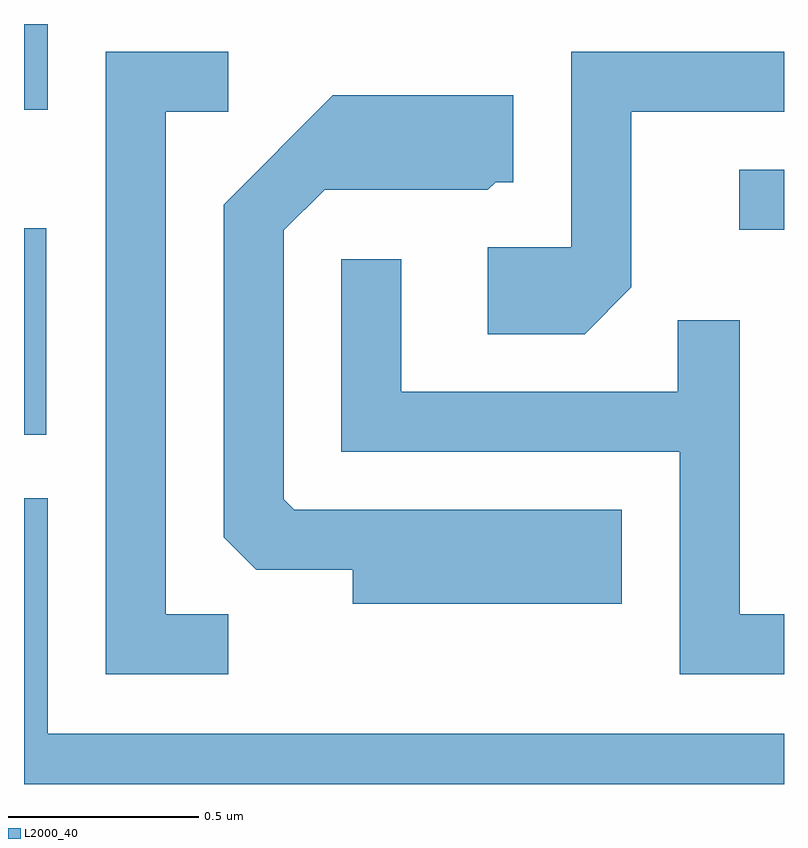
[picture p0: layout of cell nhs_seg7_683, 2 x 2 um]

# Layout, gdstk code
import gdstk
lib = gdstk.Library(unit=1e-6, precision=1e-09)
def R(c, l, rs):  # rectangles x0, y0, x1, y1
    for r in rs: c.add(gdstk.rectangle(r[:2], r[2:], *l))
def P(c, l, *ps):  # polygons
    for p in ps: c.add(gdstk.Polygon(p, *l))
L2000_40 = (2000, 40)

nhs_seg7_683 = lib.new_cell('nhs_seg7_683')
R(nhs_seg7_683, L2000_40, [(189.611,1804.171,189.669,1804.714), (191.493,1804.711,191.611,1804.869), (189.611,1805.026,189.674,1805.252)])
P(nhs_seg7_683, L2000_40, [(190.148,1803.699),(189.984,1803.699),(189.984,1805.021),(190.148,1805.021),(190.148,1805.179),(189.826,1805.179),(189.826,1803.541),(190.148,1803.541)],
  [(191.209,1804.559),(191.209,1805.021),(191.611,1805.021),(191.611,1805.179),(191.051,1805.179),(191.051,1804.664),(190.831,1804.664),(190.831,1804.436),(191.087,1804.436)],
  [(191.184,1803.974),(190.322,1803.974),(190.294,1804.002),(190.294,1804.709),(190.402,1804.816),(190.832,1804.816),(190.852,1804.836),(190.899,1804.836),(190.899,1805.064),(190.424,1805.064),(190.136,1804.777),(190.136,1803.902),(190.222,1803.816),(190.476,1803.816),(190.476,1803.726),(191.184,1803.726)],
  [(191.611,1803.699),(191.494,1803.699),(191.494,1804.473),(191.331,1804.473),(191.331,1804.284),(190.604,1804.284),(190.604,1804.633),(190.446,1804.633),(190.446,1804.126),(191.336,1804.126),(191.336,1803.541),(191.611,1803.541)],
  [(191.611,1803.384),(189.674,1803.384),(189.674,1804.004),(189.611,1804.004),(189.611,1803.252),(191.611,1803.252)])

lib.write_gds('nhs_seg7_683.gds')
